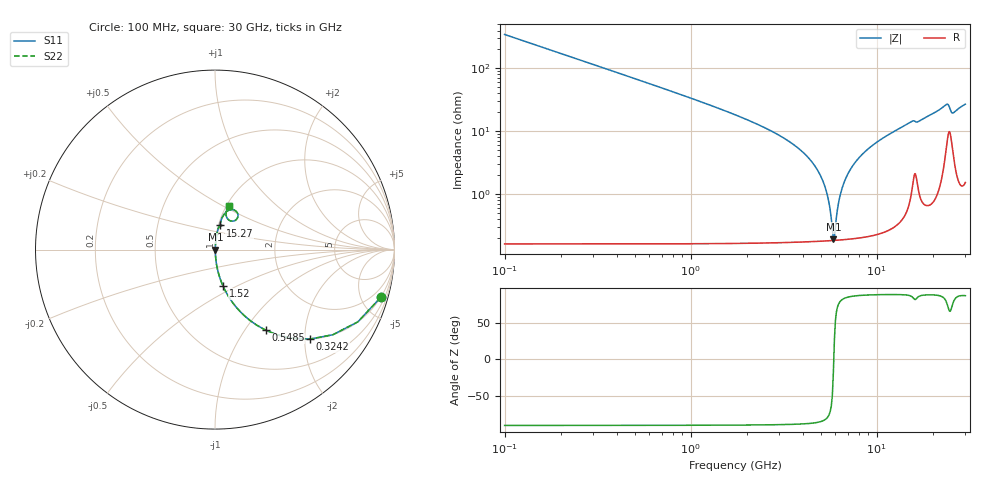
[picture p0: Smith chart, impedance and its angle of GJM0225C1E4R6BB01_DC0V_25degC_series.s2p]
!Murata Part Number: GJM0225C1E4R6BB01
!These Parameters are Measured in Series Mode Connection
!  o--ll--o
!Port1  Port2
!  o------o
!Operation Temp=25[degC], DC Bias Voltage=0[V]
!Freq. Start=100[MHz] Stop=30[GHz], 401[Steps]
!Data Generated on Feb 1, 2023
# Hz S RI R 50
!Freq.(Hz) S11(Real) S11(Imag) S21(Real) S21(Imag) S12(Real) S12(Imag) S22(Real) S22(Imag)
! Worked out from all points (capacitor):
!   401 points, 100 MHz to 30 GHz, reference 50 ohm
!   read as one part in series: C = 4.6 pF near 249.5 MHz
!   lowest |Z| = 189 mohm at 5.856 GHz (marker M1)
!   series resonance near 5.883 GHz, so ESL is about 160 pH
!   S11 on the Smith chart (normalised r, x): 100 MHz: 1.00, -6.92; 324.2 MHz: 1.00, -2.13; 548.5 MHz: 1.00, -1.25; 1.52 GHz: 1.00, -0.42; 15.27 GHz: 1.02, +0.28; 30 GHz: 1.03, +0.54
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1e8  0.9228 -0.2667  0.0772 0.2667  0.0772 0.2667  0.9228 -0.2667
3.2425e8  0.5308 -0.4983  0.4692 0.4983  0.4692 0.4983  0.5308 -0.4983
5.485e8  0.2816 -0.4485  0.7184 0.4485  0.7184 0.4485  0.2816 -0.4485
9.2225e8  0.1192 -0.3218  0.8808 0.3218  0.8808 0.3218  0.1192 -0.3218
1.52025e9  0.0446 -0.2026  0.9554 0.2026  0.9554 0.2026  0.0446 -0.2026
4.1365e9  0.0035 -0.0421  0.9965 0.0421  0.9965 0.0421  0.0035 -0.0421
5.10825e9  0.00205 -0.0166  0.998 0.0166  0.998 0.0166  0.00205 -0.0166
5.482e9  0.00186 -0.0083  0.9981 0.0083  0.9981 0.0083  0.00186 -0.0083
5.781e9  0.00181 -0.00205  0.9982 0.00205  0.9982 0.00205  0.00181 -0.00205
5.85575e9  0.00181 -0.000538  0.9982 0.000538  0.9982 0.000538  0.00181 -0.000538
6.00525e9  0.00183 0.00243  0.9982 -0.00243  0.9982 -0.00243  0.00183 0.00243
6.2295e9  0.00188 0.00675  0.9981 -0.00675  0.9981 -0.00675  0.00188 0.00675
6.45375e9  0.00197 0.0109  0.998 -0.0109  0.998 -0.0109  0.00197 0.0109
7.1265e9  0.00242 0.0227  0.9976 -0.0227  0.9976 -0.0227  0.00242 0.0227
8.3225e9  0.00376 0.0418  0.9962 -0.0418  0.9962 -0.0418  0.00376 0.0418
1.01165e10  0.00682 0.0673  0.9932 -0.0673  0.9932 -0.0673  0.00682 0.0673
1.505e10  0.0251 0.1317  0.9749 -0.1317  0.9749 -0.1317  0.0251 0.1317
1.527425e10  0.0276 0.1346  0.9724 -0.1346  0.9724 -0.1346  0.0276 0.1346
2.005825e10  0.0414 0.181  0.9586 -0.181  0.9586 -0.181  0.0414 0.181
2.3721e10  0.1069 0.2203  0.8931 -0.2203  0.8931 -0.2203  0.1069 0.2203
2.50665e10  0.1024 0.159  0.8976 -0.159  0.8976 -0.159  0.1024 0.159
3e10  0.0794 0.2434  0.9206 -0.2434  0.9206 -0.2434  0.0794 0.2434
